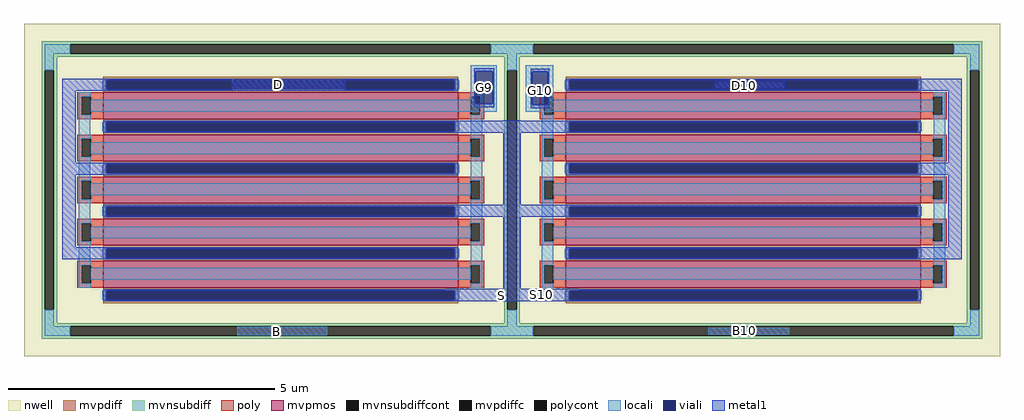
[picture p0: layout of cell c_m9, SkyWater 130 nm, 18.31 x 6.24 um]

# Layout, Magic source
magic
tech sky130A
magscale 1 2
<< locali >>
rect 1599 974 1697 998
rect 1599 852 1618 974
rect 1682 852 1697 974
rect 1599 822 1697 852
rect 1805 972 1909 998
rect 1805 848 1830 972
rect 1888 848 1909 972
rect 1805 822 1909 848
rect 724 -16 1060 16
rect 2490 -14 2794 12
<< viali >>
rect 1618 852 1682 974
rect 1830 848 1888 972
<< metal1 >>
rect 1612 974 1688 986
rect 702 908 1128 940
rect 1612 852 1618 974
rect 1682 852 1688 974
rect 1612 840 1688 852
rect 1824 972 1894 984
rect 1824 848 1830 972
rect 1888 848 1894 972
rect 2514 910 2778 936
rect 1824 836 1894 848
rect 1636 113 1770 157
rect 1822 118 1906 152
use sky130_fd_pr__pfet_g5v0d10v5_8N5LN9  sky130_fd_pr__pfet_g5v0d10v5_8N5LN9_0
transform 0 1 886 -1 0 529
box -624 -963 624 963
use sky130_fd_pr__pfet_g5v0d10v5_8N5LN9  sky130_fd_pr__pfet_g5v0d10v5_8N5LN9_1
transform 0 -1 2622 -1 0 529
box -624 -963 624 963
<< labels >>
flabel metal1 878 924 878 924 0 FreeSans 800 0 0 0 D
port 0 nsew
flabel viali 1650 912 1650 912 0 FreeSans 320 0 0 0 G9
port 1 nsew
flabel metal1 1716 134 1716 134 0 FreeSans 800 0 0 0 S
port 2 nsew
flabel locali 872 -2 872 -2 0 FreeSans 800 0 0 0 B
port 3 nsew
flabel metal1 2628 922 2628 922 0 FreeSans 800 0 0 0 D10
port 4 nsew
flabel viali 1862 904 1862 904 0 FreeSans 320 0 0 0 G10
port 5 nsew
flabel metal1 1866 138 1866 138 0 FreeSans 320 0 0 0 S10
port 6 nsew
flabel locali 2628 2 2628 2 0 FreeSans 800 0 0 0 B10
port 7 nsew
<< end >>

# cell sky130_fd_pr__pfet_g5v0d10v5_8N5LN9: kit device sky130_fd_pr__pfet_g5v0d10v5, w 6.66 l 0.5 m 1 nf 5 diffcov 100 polycov 100 guard 1 glc 1 grc 1 gtc 1 gbc 1 tbcov 100 rlcov 100 topc 1 botc 1 poverlap 0 doverlap 1 lmin 0.50 wmin 0.42 class mosfet compatible {sky130_fd_pr__pfet_01v8 sky130_fd_pr__pfet_01v8_lvt sky130_fd_pr__pfet_01v8_hvt sky130_fd_pr__pfet_g5v0d10v5} full_metal 1 conn_gates 0 viasrc 100 viadrn 100 viagate 100 viagb 0 viagr 0 viagl 0 viagt 0 doports 1
